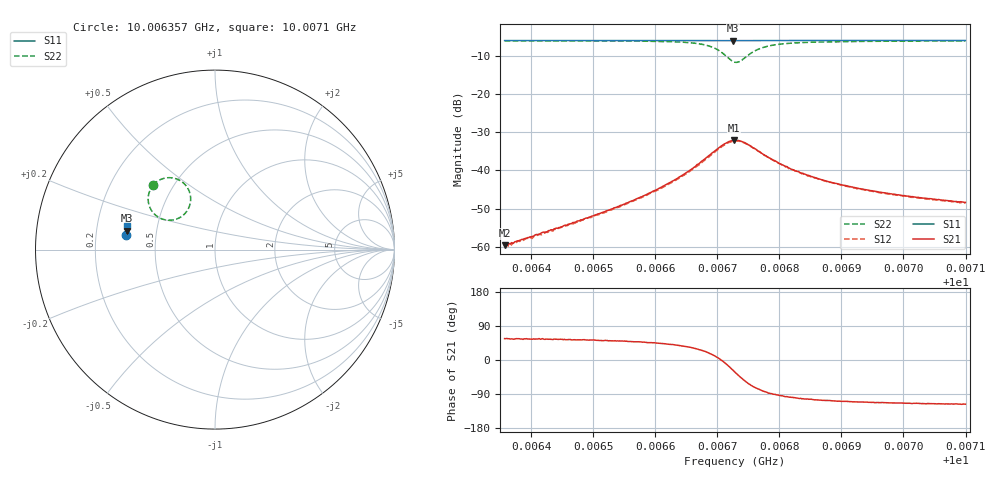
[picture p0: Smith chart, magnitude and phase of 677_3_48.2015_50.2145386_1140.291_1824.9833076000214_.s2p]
#  HZ  S  RI  R  50.00
! Rohde & Schwarz Vector Network Analyzer
! Rohde-Schwarz,ZNB20-2Port,1311601062101988,3.16
! Created: UTC 3/20/2024, 12:06:23 PM
! freq[Hz]  re:S11  im:S11  re:S21  im:S21  re:S12  im:S12  re:S22  im:S22
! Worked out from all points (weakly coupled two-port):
!   401 points, 10.006357 GHz to 10.0071 GHz, reference 50 ohm
!   highest |S21| = -32.10 dB at 10.006726 GHz (marker M1); lowest = -59.7 dB at 10.006357 GHz (marker M2)
!   lowest |S11| = -6.0 dB at 10.006725 GHz (marker M3), VSWR 3.02, Z = 16.7 + j4.75 ohm
!   |S11| at or under -10 dB: nowhere
!   |S22| runs from -11.7 to -6.0 dB; largest |S21 - S12| = 0.0022
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1.00063568e10  -0.4971 0.083  0.000575 0.000867  0.000531 0.000917  -0.3467 0.3605
1.00063717e10  -0.497 0.084  0.000648 0.000923  0.000569 0.000941  -0.3453 0.3619
1.00064813e10  -0.4959 0.0914  0.00135 0.00179  0.00127 0.00184  -0.3317 0.3735
1.00065444e10  -0.4952 0.0955  0.00226 0.00269  0.00208 0.00272  -0.3188 0.3825
1.00066057e10  -0.4943 0.0997  0.00417 0.00404  0.00389 0.00416  -0.2948 0.3937
1.00066484e10  -0.4936 0.1026  0.00746 0.00535  0.00698 0.00559  -0.2592 0.4007
1.00066819e10  -0.4927 0.1048  0.0137 0.00539  0.0128 0.00594  -0.2017 0.3883
1.00067023e10  -0.4915 0.106  0.0197 0.00149  0.019 0.00274  -0.1515 0.3413
1.00067153e10  -0.491 0.1062  0.0227 -0.0049  0.0223 -0.00317  -0.1356 0.2775
1.00067246e10  -0.4907 0.1061  0.0222 -0.0109  0.0224 -0.00897  -0.1513 0.2227
1.00067264e10  -0.4908 0.1061  0.0216 -0.0122  0.0221 -0.0101  -0.1577 0.2127
1.00067283e10  -0.4907 0.106  0.021 -0.0133  0.0215 -0.0112  -0.1655 0.203
1.00067357e10  -0.4909 0.1062  0.0178 -0.0168  0.0187 -0.0152  -0.203 0.1749
1.0006745e10  -0.4912 0.1064  0.0127 -0.0191  0.0138 -0.0179  -0.2555 0.1635
1.00067599e10  -0.4919 0.1073  0.00599 -0.0185  0.00719 -0.0179  -0.3188 0.1827
1.00067729e10  -0.4921 0.1083  0.00237 -0.0163  0.00342 -0.0161  -0.3487 0.2107
1.00067915e10  -0.4921 0.1097  -0.00016 -0.0135  0.000798 -0.0133  -0.3667 0.2454
1.00068175e10  -0.4919 0.1115  -0.00147 -0.0104  -0.000873 -0.0104  -0.3725 0.2784
1.00068528e10  -0.4917 0.1139  -0.00202 -0.00805  -0.0016 -0.00801  -0.3702 0.3049
1.00069011e10  -0.4912 0.1173  -0.00212 -0.00611  -0.00176 -0.00609  -0.3642 0.3255
1.00069772e10  -0.49 0.1223  -0.00196 -0.00458  -0.00166 -0.00462  -0.3556 0.3431
1.00070998e10  -0.4883 0.1301  -0.00171 -0.00341  -0.0015 -0.00342  -0.3448 0.3592
